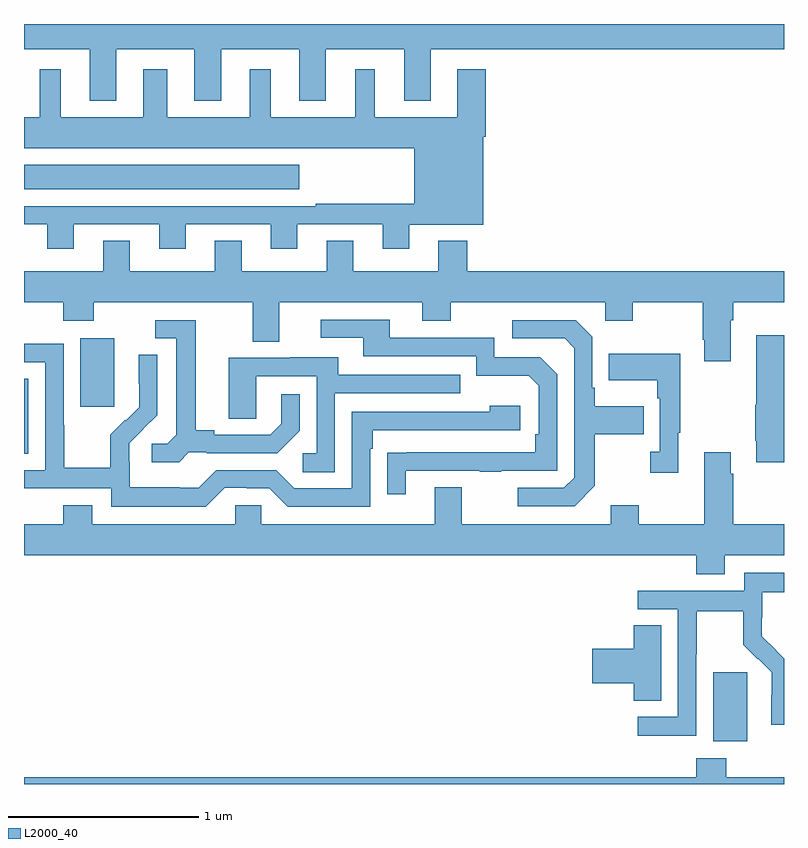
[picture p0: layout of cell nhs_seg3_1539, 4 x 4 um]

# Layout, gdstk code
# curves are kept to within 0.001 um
import gdstk
lib = gdstk.Library(unit=1e-6, precision=1e-09)
def R(c, l, rs):  # rectangles x0, y0, x1, y1
    for r in rs: c.add(gdstk.rectangle(r[:2], r[2:], *l))
def P(c, l, *ps):  # polygons
    for p in ps: c.add(gdstk.Polygon(p, *l))
L2000_40 = (2000, 40)

nhs_seg3_1539 = lib.new_cell('nhs_seg3_1539')
R(nhs_seg3_1539, L2000_40, [(194.627,678.626,194.806,678.987), (191,680.137,191.023,680.534), (191.297,680.385,191.476,680.746), (191,681.53,192.448,681.658)])
P(nhs_seg3_1539, L2000_40, [(191.485,682.268),(191.897,682.268),(191.897,681.995),(192.037,681.995),(192.037,682.268),(192.449,682.268),(192.449,681.995),(192.589,681.995),(192.589,682.268),(193.001,682.268),(193.001,681.995),(193.141,681.995),(193.141,682.268),(195,682.268),(195,682.4),(191,682.4),(191,682.268),(191.345,682.268),(191.345,681.995),(191.485,681.995)],
  [(191.263,681.345),(191.711,681.345),(191.711,681.216),(191.851,681.216),(191.851,681.345),(192.299,681.345),(192.299,681.216),(192.439,681.216),(192.439,681.345),(192.887,681.345),(192.887,681.216),(193.027,681.216),(193.027,681.344),(193.417,681.344),(193.417,681.806),(193.43,681.806),(193.43,682.162),(193.28,682.162),(193.28,681.91),(192.847,681.91),(192.847,682.162),(192.743,682.162),(192.743,681.91),(192.298,681.91),(192.298,682.162),(192.188,682.162),(192.188,681.91),(191.755,681.91),(191.755,682.162),(191.627,682.162),(191.627,681.91),(191.194,681.91),(191.194,682.162),(191.084,682.162),(191.084,681.91),(191,681.91),(191,681.746),(193.055,681.746),(193.055,681.454),(192.535,681.454),(192.535,681.441),(191,681.441),(191,681.345),(191.123,681.345),(191.123,681.216),(191.263,681.216)],
  [(194.719,680.84),(194.732,680.84),(194.732,680.936),(195,680.936),(195,681.1),(193.334,681.1),(193.334,681.259),(193.181,681.259),(193.181,681.1),(192.733,681.1),(192.733,681.26),(192.593,681.26),(192.593,681.1),(192.145,681.1),(192.145,681.26),(192.005,681.26),(192.005,681.1),(191.557,681.1),(191.557,681.26),(191.417,681.26),(191.417,681.1),(191,681.1),(191,680.936),(191.207,680.936),(191.207,680.837),(191.367,680.837),(191.367,680.936),(192.203,680.936),(192.203,680.728),(192.343,680.728),(192.343,680.936),(193.097,680.936),(193.097,680.837),(193.245,680.837),(193.245,680.936),(194.058,680.936),(194.058,680.837),(194.205,680.837),(194.205,680.936),(194.572,680.936),(194.572,680.737),(194.579,680.737),(194.579,680.625),(194.719,680.625)],
  [(193.009,680.049),(193.399,680.049),(193.399,680.044),(193.511,680.044),(193.511,680.049),(193.806,680.049),(193.806,680.556),(193.716,680.646),(193.476,680.646),(193.476,680.748),(192.925,680.748),(192.925,680.844),(192.561,680.844),(192.561,680.748),(192.785,680.748),(192.785,680.652),(193.38,680.652),(193.38,680.549),(193.657,680.549),(193.71,680.496),(193.71,680.242),(193.69,680.242),(193.69,680.145),(192.913,680.144),(192.913,679.926),(193.009,679.926)],
  [(191.868,680.145),(191.962,680.145),(191.962,680.142),(192.334,680.142),(192.45,680.258),(192.45,680.452),(192.353,680.452),(192.353,680.295),(192.296,680.238),(192.001,680.238),(192.001,680.261),(191.905,680.261),(191.905,680.841),(191.691,680.841),(191.691,680.745),(191.801,680.745),(191.801,680.237),(191.754,680.19),(191.673,680.19),(191.673,680.093),(191.816,680.093)],
  [(194.005,679.969),(194.005,680.242),(194.261,680.242),(194.261,680.389),(194.005,680.389),(194.005,680.485),(193.992,680.485),(193.992,680.754),(193.905,680.841),(193.569,680.841),(193.569,680.745),(193.845,680.745),(193.896,680.694),(193.896,680.013),(193.842,679.959),(193.599,679.959),(193.599,679.863),(193.899,679.863)],
  [(195,680.761),(194.855,680.761),(194.855,680.395),(194.848,680.395),(194.848,680.206),(194.855,680.206),(194.855,680.094),(195,680.094)],
  [(192.057,679.959),(192.173,679.959),(192.173,679.956),(192.291,679.956),(192.387,679.86),(192.822,679.86),(192.822,680.165),(192.835,680.165),(192.835,680.262),(193.612,680.262),(193.612,680.392),(193.451,680.392),(193.451,680.358),(192.726,680.358),(192.726,679.956),(192.423,679.956),(192.327,680.052),(192.012,680.052),(191.919,679.959),(191.819,679.959),(191.819,679.963),(191.556,679.963),(191.556,680.097),(191.554,680.097),(191.554,680.194),(191.7,680.342),(191.7,680.66),(191.604,680.66),(191.604,680.506),(191.606,680.506),(191.606,680.384),(191.535,680.313),(191.532,680.316),(191.455,680.239),(191.455,680.065),(191.211,680.065),(191.211,680.288),(191.208,680.288),(191.208,680.718),(191,680.718),(191,680.619),(191.112,680.619),(191.112,680.052),(191,680.052),(191,679.956),(191.46,679.956),(191.46,679.859),(191.957,679.859)],
  [(194.443,680.249),(194.455,680.249),(194.455,680.665),(194.077,680.665),(194.077,680.525),(194.334,680.525),(194.334,680.429),(194.346,680.429),(194.346,680.15),(194.295,680.15),(194.295,680.037),(194.443,680.037)],
  [(192.636,680.457),(193.295,680.457),(193.295,680.553),(192.655,680.553),(192.655,680.647),(192.401,680.647),(192.401,680.643),(192.077,680.643),(192.077,680.323),(192.222,680.323),(192.222,680.547),(192.54,680.547),(192.54,680.142),(192.468,680.142),(192.468,680.041),(192.636,680.041)],
  [(194.689,679.604),(195,679.604),(195,679.768),(194.732,679.768),(194.732,680.033),(194.719,680.033),(194.719,680.146),(194.579,680.146),(194.579,679.768),(194.235,679.768),(194.235,679.867),(194.087,679.867),(194.087,679.768),(193.303,679.768),(193.303,679.963),(193.163,679.963),(193.163,679.768),(192.249,679.768),(192.249,679.866),(192.111,679.866),(192.111,679.768),(191.359,679.768),(191.359,679.867),(191.207,679.867),(191.207,679.768),(191,679.768),(191,679.604),(194.537,679.604),(194.537,679.505),(194.689,679.505)],
  [(194.538,679.084),(194.541,679.084),(194.541,679.308),(194.785,679.308),(194.785,679.133),(194.862,679.056),(194.865,679.059),(194.936,678.989),(194.936,678.866),(194.934,678.866),(194.934,678.712),(195,678.712),(195,679.06),(194.884,679.178),(194.884,679.275),(194.886,679.275),(194.886,679.409),(195,679.409),(195,679.513),(194.79,679.513),(194.79,679.416),(194.229,679.416),(194.229,679.32),(194.442,679.32),(194.442,678.753),(194.229,678.753),(194.229,678.655),(194.538,678.655)],
  [(194.353,679.235),(194.21,679.235),(194.21,679.112),(193.992,679.112),(193.992,678.929),(194.21,678.929),(194.21,678.838),(194.353,678.838)],
  [(195,678.436),(194.697,678.436),(194.697,678.535),(194.537,678.535),(194.537,678.436),(191,678.436),(191,678.4),(195,678.4)])

lib.write_gds('nhs_seg3_1539.gds')
